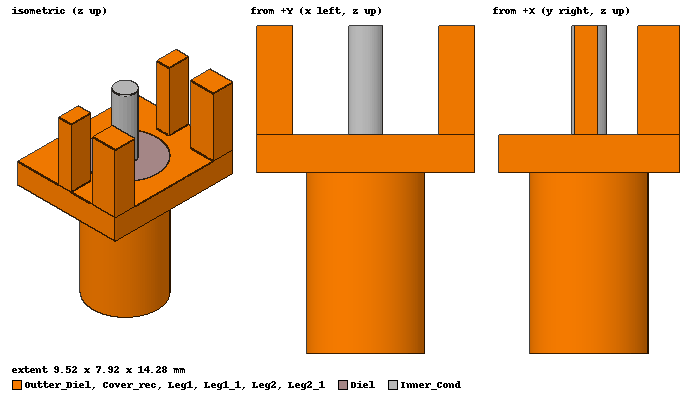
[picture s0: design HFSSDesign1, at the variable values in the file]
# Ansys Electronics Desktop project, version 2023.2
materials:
  vacuum: permittivity=1
  Teflon (tm): permittivity=2.1 dielectric_loss_tangent=0.001
  pec: conductivity=1e+30
  copper: permeability=0.999991 conductivity=58000000
  FR4_epoxy: permittivity=4.4 dielectric_loss_tangent=0.02

design HFSSDesign1 (HFSS, HFSS Modal Network, model units mm)
options: Save_Adaptive_support_files
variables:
  Rout = 2.545mm
  h_out = 9.53mm
  tc = 0.035mm
  h_pin = 4.75mm
  Rpin = 0.76mm
  cx = 9.52mm
  cy = 7.92mm
  lx = 1.6mm
  ly1 = 1.85mm
  leg_gap = 3.58mm
  ly2 = 1.02mm
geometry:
  Diel [Teflon (tm)] = cylinder(axis=Z, base_centre=(0mm, 0mm, 0mm), radius=Rout, height=h_out)
  Outter_Diel [pec] = cylinder(axis=Z, base_centre=(0mm, 0mm, 0mm), radius=Rout+tc, height=h_out)
  Diel_1 = Diel.copy()
  Outter_Diel.subtract(Diel_1)
  Inner_Cond [pec] = cylinder(axis=Z, base_centre=(0mm, 0mm, 0mm), radius=Rpin, height=h_out+h_pin)
  Inner_Cond_1 = Inner_Cond.copy()
  Diel.subtract(Inner_Cond_1)
  Cover_rec [pec] = box(corner=(-cx/2, -cy/2, h_out), size=(cx, cy, -1.65mm))
  Outter_Diel_1 = Outter_Diel.copy()
  Cover_rec.subtract(Outter_Diel_1)
  Diel_2 = Diel.copy()
  Cover_rec.subtract(Diel_2)
  Leg1 [pec] = box(corner=(cx/2, cy/2, h_out), size=(-lx, -ly1, h_pin))
  Leg2 [pec] = box(corner=(cx/2, cy/2-leg_gap, h_out), size=(-lx, -ly2, h_pin))
  Leg1_1 [pec] = Leg1.duplicate_mirror(point=(0mm, 3.96mm, 9.53mm), normal=(-1mm, 0mm, 0mm))
  Leg2_1 [pec] = Leg2.duplicate_mirror(point=(0mm, 3.96mm, 9.53mm), normal=(-1mm, 0mm, 0mm))
